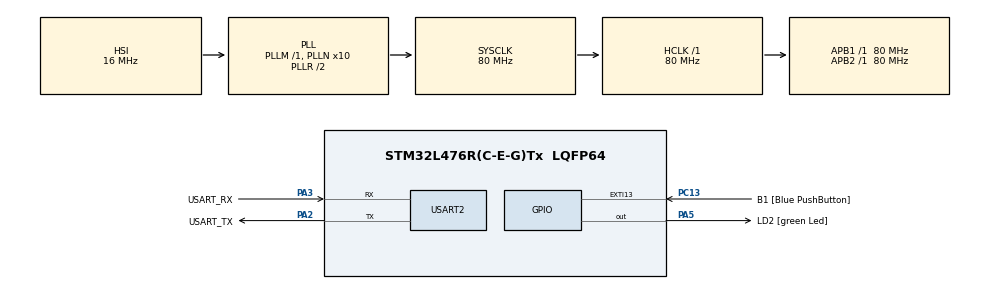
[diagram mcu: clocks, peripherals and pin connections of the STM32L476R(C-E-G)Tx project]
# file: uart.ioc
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Dma.Request0=USART2_TX
Dma.USART2_TX.0.Direction=DMA_MEMORY_TO_PERIPH
Dma.USART2_TX.0.Instance=DMA1_Channel7
Dma.USART2_TX.0.MemDataAlignment=DMA_MDATAALIGN_BYTE
Dma.USART2_TX.0.MemInc=DMA_MINC_ENABLE
Dma.USART2_TX.0.Mode=DMA_NORMAL
Dma.USART2_TX.0.PeriphDataAlignment=DMA_PDATAALIGN_BYTE
Dma.USART2_TX.0.PeriphInc=DMA_PINC_DISABLE
Dma.USART2_TX.0.Priority=DMA_PRIORITY_LOW
Mcu.Family=STM32L4
Mcu.Name=STM32L476R(C-E-G)Tx
Mcu.Package=LQFP64
NVIC.DMA1_Channel7_IRQn=true\:0\:0\:false\:false\:true\:false\:true\:true
NVIC.PriorityGroup=NVIC_PRIORITYGROUP_4
NVIC.USART2_IRQn=true\:0\:0\:false\:false\:true\:true\:true\:true
PA13\ (JTMS-SWDIO).GPIO_Label=TMS
PA13\ (JTMS-SWDIO).Mode=Serial_Wire
PA13\ (JTMS-SWDIO).Signal=SYS_JTMS-SWDIO
PA14\ (JTCK-SWCLK).GPIO_Label=TCK
PA14\ (JTCK-SWCLK).Mode=Serial_Wire
PA14\ (JTCK-SWCLK).Signal=SYS_JTCK-SWCLK
PA2.GPIO_Label=USART_TX
PA2.GPIO_Mode=GPIO_MODE_AF_PP
PA2.GPIO_PuPd=GPIO_NOPULL
PA2.GPIO_Speed=GPIO_SPEED_FREQ_VERY_HIGH
PA2.Mode=Asynchronous
PA2.Signal=USART2_TX
PA3.GPIO_Label=USART_RX
PA3.GPIO_Mode=GPIO_MODE_AF_PP
PA3.GPIO_PuPd=GPIO_NOPULL
PA3.GPIO_Speed=GPIO_SPEED_FREQ_VERY_HIGH
PA3.Mode=Asynchronous
PA3.Signal=USART2_RX
PA5.GPIO_Label=LD2 [green Led]
PA5.GPIO_ModeDefaultOutputPP=GPIO_MODE_OUTPUT_PP
PA5.GPIO_PuPd=GPIO_NOPULL
PA5.GPIO_Speed=GPIO_SPEED_FREQ_LOW
PA5.Signal=GPIO_Output
PB3\ (JTDO-TRACESWO).GPIO_Label=SWO
PB3\ (JTDO-TRACESWO).Signal=SYS_JTDO-SWO
PC13.GPIO_Label=B1 [Blue PushButton]
PC13.GPIO_ModeDefaultEXTI=GPIO_MODE_IT_FALLING
PC13.GPIO_PuPd=GPIO_NOPULL
PC13.Signal=GPXTI13
PC14-OSC32_IN\ (PC14).Mode=LSE-External-Oscillator
PC14-OSC32_IN\ (PC14).Signal=RCC_OSC32_IN
PC15-OSC32_OUT\ (PC15).Mode=LSE-External-Oscillator
PC15-OSC32_OUT\ (PC15).Signal=RCC_OSC32_OUT
PH0-OSC_IN\ (PH0).Signal=RCC_OSC_IN
PH1-OSC_OUT\ (PH1).Signal=RCC_OSC_OUT
ProjectManager.HeapSize=0x200
ProjectManager.StackSize=0x400
ProjectManager.TargetToolchain=STM32CubeIDE
RCC.ADCFreq_Value=64000000
RCC.AHBFreq_Value=80000000
RCC.APB1Freq_Value=80000000
RCC.APB1TimFreq_Value=80000000
RCC.APB2Freq_Value=80000000
RCC.APB2TimFreq_Value=80000000
RCC.CortexFreq_Value=80000000
RCC.HCLKFreq_Value=80000000
RCC.HSE_VALUE=8000000
RCC.HSI_VALUE=16000000
RCC.MSI_VALUE=4000000
RCC.PLLN=10
RCC.PLLSourceVirtual=RCC_PLLSOURCE_HSI
RCC.PREFETCH_ENABLE=1
RCC.SYSCLKFreq_VALUE=80000000
RCC.SYSCLKSource=RCC_SYSCLKSOURCE_PLLCLK
RCC.USBFreq_Value=64000000
RCC.VCOOutputFreq_Value=160000000
USART2.VirtualMode-Asynchronous=VM_ASYNC
board=NUCLEO-L476RG

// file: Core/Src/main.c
/* USER CODE BEGIN Header */
/**
  ******************************************************************************
  * @file           : main.c
  * @brief          : Main program body
  ******************************************************************************
  * @attention
  *
  * Copyright (c) 2024 STMicroelectronics.
  * All rights reserved.
  *
  * This software is licensed under terms that can be found in the LICENSE file
  * in the root directory of this software component.
  * If no LICENSE file comes with this software, it is provided AS-IS.
  *
  ******************************************************************************
  */
/* USER CODE END Header */
#include "main.h"

/* USER CODE BEGIN Includes */
#define TRUE 1
#define FALSE 0

/* USER CODE END Includes */

UART_HandleTypeDef huart2;
DMA_HandleTypeDef hdma_usart2_tx;

#include <stdio.h>
#include <string.h>
#include <ctype.h>

/* USER CODE BEGIN PV */

uint8_t rcvd_data;
uint8_t data_buffer[100];
uint32_t count = 0;
uint8_t reception_complete = FALSE;
uint8_t transmitData[100];

/* USER CODE END PV */

void SystemClock_Config(void);
static void MX_GPIO_Init(void);
static void MX_DMA_Init(void);
static void MX_USART2_UART_Init(void);

/* USER CODE BEGIN 0 */

void HAL_UART_RxCpltCallback(UART_HandleTypeDef *huart)
{
	data_buffer[++count] = rcvd_data;
	if(rcvd_data == '\r'){
		data_buffer[++count] = '\n';
//		reception_complete = TRUE;
		if(strncmp((const char*)(data_buffer + 1), "SoC\r\n", count) == 0){
			strcat((char *)transmitData, "SoC:67%\r\n");
			HAL_UART_Transmit(&huart2, transmitData, sizeof(transmitData), HAL_MAX_DELAY);
		}
		else if(!strncmp((const char*)(data_buffer + 1), "SoH\r\n", count))
			HAL_UART_Transmit(&huart2, (const uint8_t*)"SoH:98%\r\n", sizeof("SoH:98%\r\n"), HAL_MAX_DELAY);
		else if(!strncmp((const char*)(data_buffer + 1), "Voltage\r\n", count))
			HAL_UART_Transmit(&huart2, (const uint8_t*)"Voltage: 3.200mV\r\n", sizeof("Voltage: 3.200mV\r\n"), HAL_MAX_DELAY);
		else if(!strncmp((const char*)(data_buffer + 1), "Current\r\n", count))
			HAL_UART_Transmit(&huart2, (const uint8_t*)"Current: 150mA\r\n", sizeof("Current: 150mA\r\n"), HAL_MAX_DELAY);
		else if(!strncmp((const char*)(data_buffer + 1), "Temp\r\n", count))
			HAL_UART_Transmit(&huart2, (const uint8_t*)"Temperature: 25C\r\n", sizeof("Temperature: 25C\r\n"), HAL_MAX_DELAY);
		memset(data_buffer, 0, sizeof(data_buffer));
		memset(transmitData, 0, sizeof(transmitData));
		count = 0;
	}
	HAL_UART_Receive_IT(&huart2, &rcvd_data, 1);

  /* NOTE : This function should not be modified, when the callback is needed,
            the HAL_UART_RxCpltCallback can be implemented in the user file.
   */
}

/* USER CODE END 0 */

int main(void)
{

  /* MCU Configuration--------------------------------------------------------*/

  /* Reset of all peripherals, Initializes the Flash interface and the Systick. */
  HAL_Init();

  /* Configure the system clock */
  SystemClock_Config();

  /* Initialize all configured peripherals */
  MX_GPIO_Init();
  MX_DMA_Init();
  MX_USART2_UART_Init();
  /* USER CODE BEGIN 2 */

  char *user_data = "Hello, from STM32. The application is running\r\n";
  HAL_UART_Transmit(&huart2, (uint8_t *)user_data, strlen(user_data), HAL_MAX_DELAY);

//  while(!reception_complete)
	HAL_UART_Receive_IT(&huart2, &rcvd_data, 1);

  /* USER CODE END 2 */

  /* Infinite loop */
  while (1)
  {

    /* USER CODE BEGIN 3 */

//	HAL_Delay(1000); // Delay for 1 second
  }

  /* USER CODE END 3 */
}

void SystemClock_Config(void)
{
  RCC_OscInitTypeDef RCC_OscInitStruct = {0};
  RCC_ClkInitTypeDef RCC_ClkInitStruct = {0};

  /** Configure the main internal regulator output voltage
  */
  if (HAL_PWREx_ControlVoltageScaling(PWR_REGULATOR_VOLTAGE_SCALE1) != HAL_OK)
  {
    Error_Handler();
  }

  /** Initializes the RCC Oscillators according to the specified parameters
  * in the RCC_OscInitTypeDef structure.
  */
  RCC_OscInitStruct.OscillatorType = RCC_OSCILLATORTYPE_HSI;
  RCC_OscInitStruct.HSIState = RCC_HSI_ON;
  RCC_OscInitStruct.HSICalibrationValue = RCC_HSICALIBRATION_DEFAULT;
  RCC_OscInitStruct.PLL.PLLState = RCC_PLL_ON;
  RCC_OscInitStruct.PLL.PLLSource = RCC_PLLSOURCE_HSI;
  RCC_OscInitStruct.PLL.PLLM = 1;
  RCC_OscInitStruct.PLL.PLLN = 10;
  RCC_OscInitStruct.PLL.PLLP = RCC_PLLP_DIV7;
  RCC_OscInitStruct.PLL.PLLQ = RCC_PLLQ_DIV2;
  RCC_OscInitStruct.PLL.PLLR = RCC_PLLR_DIV2;
  if (HAL_RCC_OscConfig(&RCC_OscInitStruct) != HAL_OK)
  {
    Error_Handler();
  }

  /** Initializes the CPU, AHB and APB buses clocks
  */
  RCC_ClkInitStruct.ClockType = RCC_CLOCKTYPE_HCLK|RCC_CLOCKTYPE_SYSCLK
                              |RCC_CLOCKTYPE_PCLK1|RCC_CLOCKTYPE_PCLK2;
  RCC_ClkInitStruct.SYSCLKSource = RCC_SYSCLKSOURCE_PLLCLK;
  RCC_ClkInitStruct.AHBCLKDivider = RCC_SYSCLK_DIV1;
  RCC_ClkInitStruct.APB1CLKDivider = RCC_HCLK_DIV1;
  RCC_ClkInitStruct.APB2CLKDivider = RCC_HCLK_DIV1;

  if (HAL_RCC_ClockConfig(&RCC_ClkInitStruct, FLASH_LATENCY_4) != HAL_OK)
  {
    Error_Handler();
  }
}

static void MX_USART2_UART_Init(void)
{

  huart2.Instance = USART2;
  huart2.Init.BaudRate = 115200;
  huart2.Init.WordLength = UART_WORDLENGTH_8B;
  huart2.Init.StopBits = UART_STOPBITS_1;
  huart2.Init.Parity = UART_PARITY_NONE;
  huart2.Init.Mode = UART_MODE_TX_RX;
  huart2.Init.HwFlowCtl = UART_HWCONTROL_NONE;
  huart2.Init.OverSampling = UART_OVERSAMPLING_16;
  huart2.Init.OneBitSampling = UART_ONE_BIT_SAMPLE_DISABLE;
  huart2.AdvancedInit.AdvFeatureInit = UART_ADVFEATURE_NO_INIT;
  if (HAL_UART_Init(&huart2) != HAL_OK)
  {
    Error_Handler();
  }

}

static void MX_DMA_Init(void)
{

  /* DMA controller clock enable */
  __HAL_RCC_DMA1_CLK_ENABLE();

  /* DMA interrupt init */
  /* DMA1_Channel7_IRQn interrupt configuration */
  HAL_NVIC_SetPriority(DMA1_Channel7_IRQn, 0, 0);
  HAL_NVIC_EnableIRQ(DMA1_Channel7_IRQn);

}

static void MX_GPIO_Init(void)
{
  GPIO_InitTypeDef GPIO_InitStruct = {0};

  /* GPIO Ports Clock Enable */
  __HAL_RCC_GPIOC_CLK_ENABLE();
  __HAL_RCC_GPIOH_CLK_ENABLE();
  __HAL_RCC_GPIOA_CLK_ENABLE();
  __HAL_RCC_GPIOB_CLK_ENABLE();

  /*Configure GPIO pin Output Level */
  HAL_GPIO_WritePin(LD2_GPIO_Port, LD2_Pin, GPIO_PIN_RESET);

  /*Configure GPIO pin : B1_Pin */
  GPIO_InitStruct.Pin = B1_Pin;
  GPIO_InitStruct.Mode = GPIO_MODE_IT_FALLING;
  GPIO_InitStruct.Pull = GPIO_NOPULL;
  HAL_GPIO_Init(B1_GPIO_Port, &GPIO_InitStruct);

  /*Configure GPIO pin : LD2_Pin */
  GPIO_InitStruct.Pin = LD2_Pin;
  GPIO_InitStruct.Mode = GPIO_MODE_OUTPUT_PP;
  GPIO_InitStruct.Pull = GPIO_NOPULL;
  GPIO_InitStruct.Speed = GPIO_SPEED_FREQ_LOW;
  HAL_GPIO_Init(LD2_GPIO_Port, &GPIO_InitStruct);

}

void Error_Handler(void)
{
  __disable_irq();
  while (1)
  {
  }
}
